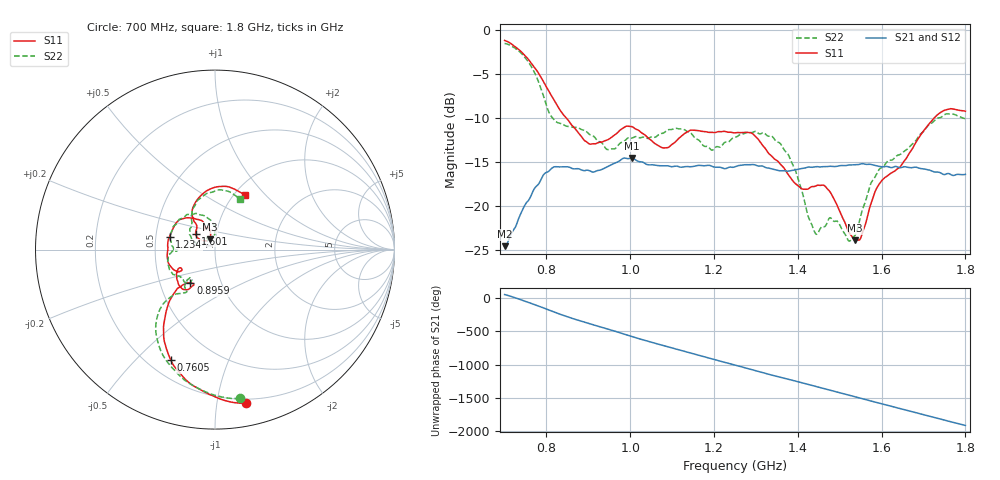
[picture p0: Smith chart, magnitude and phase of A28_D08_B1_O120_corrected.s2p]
! Created with skrf 1.9.0 (http://scikit-rf.org).
# Hz S RI R 50.0
!freq ReS11 ImS11 ReS21 ImS21 ReS12 ImS12 ReS22 ImS22
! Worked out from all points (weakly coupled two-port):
!   1601 points, 700 MHz to 1.8 GHz, reference 50 ohm
!   highest |S21| = -14.53 dB at 1.004 GHz (marker M1); lowest = -24.5 dB at 700.7 MHz (marker M2)
!   lowest |S11| = -23.9 dB at 1.537 GHz (marker M3), VSWR 1.14, Z = 46.9 + j5.35 ohm
!   |S11| at or under -10 dB: 847.9 MHz to 1.725 GHz (877.4 MHz wide, 68.2 % of centre)
!   |S22| runs from -24.0 to -1.5 dB; largest |S21 - S12| = 0.0037
!   S11 on the Smith chart (normalised r, x): 700 MHz: 0.17, -1.21; 760.5 MHz: 0.29, -0.64; 895.9 MHz: 0.71, -0.28; 1.234 GHz: 0.59, +0.09; 1.601 GHz: 0.79, +0.14; 1.8 GHz: 1.11, +0.77
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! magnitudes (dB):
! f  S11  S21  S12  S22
! 700 MHz  -1.2  -24.5  -24.3  -1.5
! 700.7 MHz  -1.2  -24.5  -24.2  -1.5
! 760.5 MHz  -3.6  -19.1  -18.9  -3.9
! 814.8 MHz  -7.7  -15.6  -15.7  -10.0
! 883.6 MHz  -12.1  -15.9  -15.8  -11.3
! 895.9 MHz  -12.7  -15.9  -16.0  -11.5
! 946.8 MHz  -12.4  -15.5  -15.5  -13.6
! 1.004 GHz  -11.0  -14.5  -14.7  -12.3
! 1.067 GHz  -13.1  -15.4  -15.3  -11.9
! 1.234 GHz  -11.6  -15.6  -15.6  -12.7
! 1.25 GHz  -11.7  -15.5  -15.5  -12.2
! 1.292 GHz  -11.8  -15.3  -15.3  -11.6
! 1.359 GHz  -15.2  -16.0  -16.0  -12.9
! 1.394 GHz  -17.4  -15.9  -15.9  -15.9
! 1.434 GHz  -17.8  -15.6  -15.6  -22.1
! 1.473 GHz  -18.1  -15.5  -15.5  -21.6
! 1.537 GHz  -23.9  -15.3  -15.3  -23.3
! 1.574 GHz  -19.8  -15.3  -15.3  -17.5
! 1.601 GHz  -17.1  -15.5  -15.5  -15.6
! 1.617 GHz  -16.4  -15.5  -15.5  -14.8
! 1.735 GHz  -9.6  -16.1  -16.2  -10.0
! 1.8 GHz  -9.2  -16.4  -16.4  -10.1
